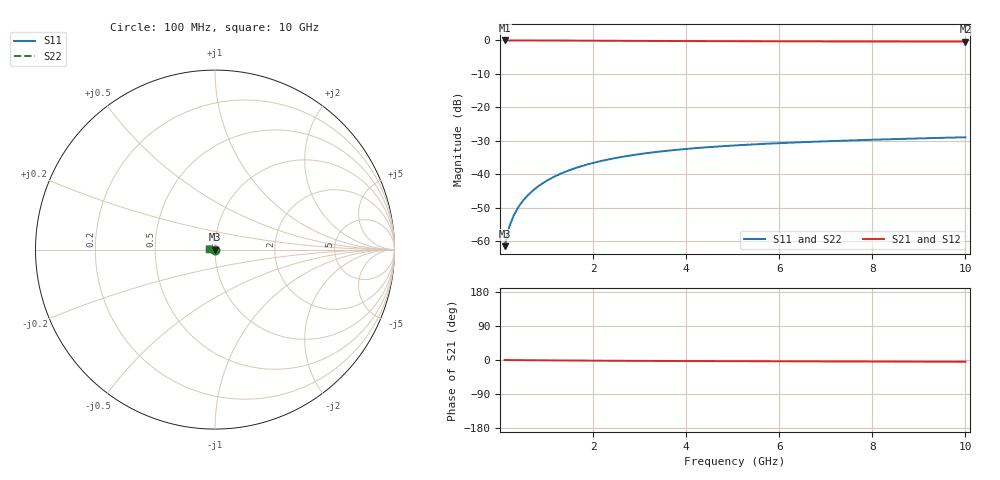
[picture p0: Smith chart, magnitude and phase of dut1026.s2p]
! Touchstone file exported from HFSS 2024.1.0
!  File:  C:/UserFiles/LocalFiles/RDL_TSV_Batchsim/temp_TSV1_1026_1780060287.aedt
!  Generated:  09:17:00 PM May 29, 2026
!  Design:  TSV1
!  Project:  temp_TSV1_1026_1780060287
!  Setup:  Setup1
!  Solution:  Sweep
! Variables:
!  dtsv = 7.38um
!  hbump = 3um
!  htsv = 71.22um
!  lrdl = 252.1521522um
!  p = 40
!  p1 = 42.79um
!  t = 500um
!  trdl = 3um
!  wrdl = 24.89489489um
# GHz S MA R 50.000000
! Terminal data exported
! Port[1] = TSV22_T1
! Port[2] = TSV22_T2
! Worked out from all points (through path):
!   100 points, 100 MHz to 10 GHz, reference 50 ohm
!   highest |S21| = 0.00 dB at 100 MHz (marker M1); lowest = -0.3 dB at 10 GHz (marker M2)
!   lowest |S11| = -61.5 dB at 100 MHz (marker M3), VSWR 1.00, Z = 50 - j0.0814 ohm
!   |S11| at or under -10 dB: start of sweep to end of sweep
!   |S22| runs from -61.5 to -28.9 dB; largest |S21 - S12| = 3.1e-15
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0.1  0.0008439 -74.6  0.9997 -0.1  0.9997 -0.1  0.0008439 -74.6
! Gamma 0 0 0 0
! Port Impedance 50 0 50 0
0.2  0.00165 -84.7  0.9996 -0.2  0.9996 -0.2  0.00165 -84.7
0.3  0.002461 -89.3  0.9995 -0.3  0.9995 -0.3  0.002461 -89.3
0.4  0.00327 -92.5  0.9993 -0.4  0.9993 -0.4  0.00327 -92.5
0.5  0.004074 -95.1  0.9991 -0.5  0.9991 -0.5  0.004074 -95.1
0.6  0.004872 -97.4  0.9988 -0.6  0.9988 -0.6  0.004872 -97.4
0.7  0.005662 -99.5  0.9985 -0.7  0.9985 -0.7  0.005662 -99.5
0.8  0.006442 -101.5  0.9982 -0.8  0.9982 -0.8  0.006442 -101.5
0.9  0.007212 -103.4  0.9978 -0.8  0.9978 -0.8  0.007212 -103.4
1.1  0.008717 -107.1  0.9969 -1.0  0.9969 -1.0  0.008717 -107.1
1.4  0.01087 -112.2  0.9953 -1.3  0.9953 -1.3  0.01087 -112.2
1.6  0.01224 -115.5  0.9941 -1.4  0.9941 -1.4  0.01224 -115.5
1.8  0.01354 -118.6  0.9929 -1.6  0.9929 -1.6  0.01354 -118.6
2.1  0.01537 -123.1  0.9909 -1.8  0.9909 -1.8  0.01537 -123.1
2.5  0.01759 -128.7  0.9883 -2.0  0.9883 -2.0  0.01759 -128.7
2.9  0.01956 -134.0  0.9857 -2.2  0.9857 -2.2  0.01956 -134.0
3.4  0.02172 -139.9  0.9826 -2.5  0.9826 -2.5  0.02172 -139.9
4.2  0.02458 -148.4  0.9781 -2.8  0.9781 -2.8  0.02458 -148.4
5.1  0.02713 -156.7  0.974 -3.1  0.974 -3.1  0.02713 -156.7
6.7  0.03058 -168.8  0.9685 -3.6  0.9685 -3.6  0.03058 -168.8
8.4  0.03344 -179.2  0.9645 -4.1  0.9645 -4.1  0.03344 -179.2
10  0.03578 172.6  0.9619 -4.6  0.9619 -4.6  0.03578 172.6
